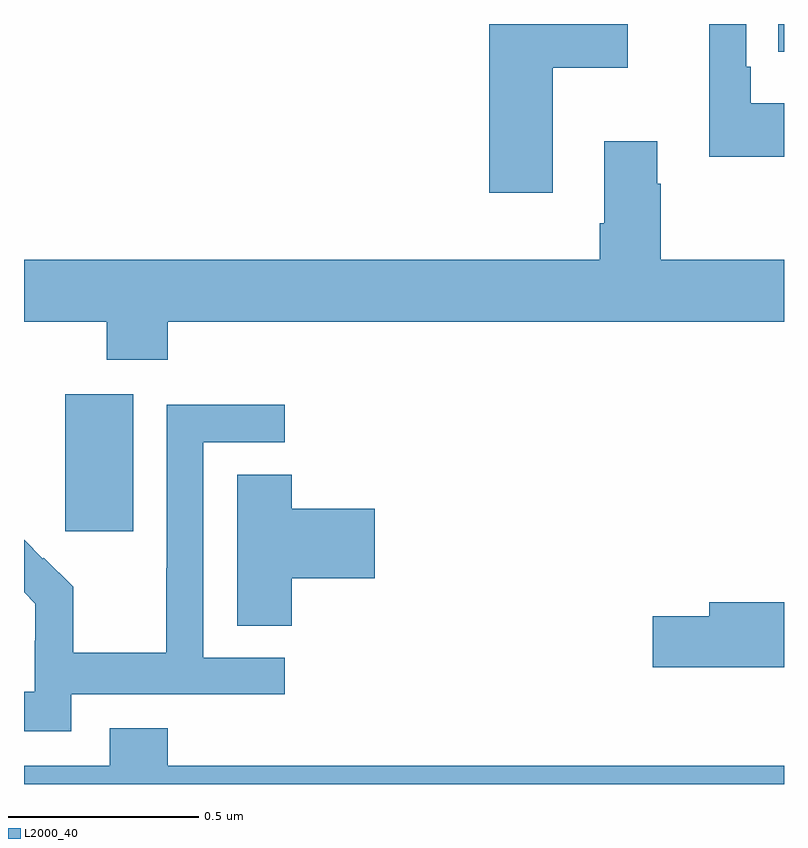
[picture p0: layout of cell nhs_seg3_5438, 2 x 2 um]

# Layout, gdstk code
import gdstk
lib = gdstk.Library(unit=1e-6, precision=1e-09)
def R(c, l, rs):  # rectangles x0, y0, x1, y1
    for r in rs: c.add(gdstk.rectangle(r[:2], r[2:], *l))
def P(c, l, *ps):  # polygons
    for p in ps: c.add(gdstk.Polygon(p, *l))
L2000_40 = (2000, 40)

nhs_seg3_5438 = lib.new_cell('nhs_seg3_5438')
R(nhs_seg3_5438, L2000_40, [(179.108,667.065,179.287,667.426), (180.985,668.327,181,668.4)])
P(nhs_seg3_5438, L2000_40, [(180.391,668.285),(180.589,668.285),(180.589,668.4),(180.224,668.4),(180.224,667.956),(180.391,667.956)],
  [(181,668.191),(180.913,668.191),(180.913,668.287),(180.9,668.287),(180.9,668.4),(180.803,668.4),(180.803,668.051),(181,668.051)],
  [(179.378,667.616),(181,667.616),(181,667.78),(180.675,667.78),(180.675,667.979),(180.667,667.979),(180.667,668.092),(180.527,668.092),(180.527,667.876),(180.515,667.876),(180.515,667.78),(179,667.78),(179,667.616),(179.218,667.616),(179.218,667.517),(179.378,667.517)],
  [(179.124,666.636),(179.686,666.636),(179.686,666.732),(179.472,666.732),(179.472,667.299),(179.686,667.299),(179.686,667.398),(179.376,667.398),(179.376,666.968),(179.374,666.968),(179.374,666.745),(179.129,666.745),(179.129,666.919),(179.052,666.996),(179.049,666.993),(179,667.043),(179,666.904),(179.03,666.874),(179.03,666.777),(179.028,666.777),(179.028,666.643),(179,666.643),(179,666.539),(179.124,666.539)],
  [(179.705,666.941),(179.923,666.941),(179.923,667.124),(179.705,667.124),(179.705,667.214),(179.561,667.214),(179.561,666.817),(179.705,666.817)],
  [(181,666.878),(180.803,666.878),(180.803,666.842),(180.654,666.842),(180.654,666.707),(181,666.707)],
  [(181,666.448),(179.378,666.448),(179.378,666.547),(179.225,666.547),(179.225,666.448),(179,666.448),(179,666.4),(181,666.4)])

lib.write_gds('nhs_seg3_5438.gds')
